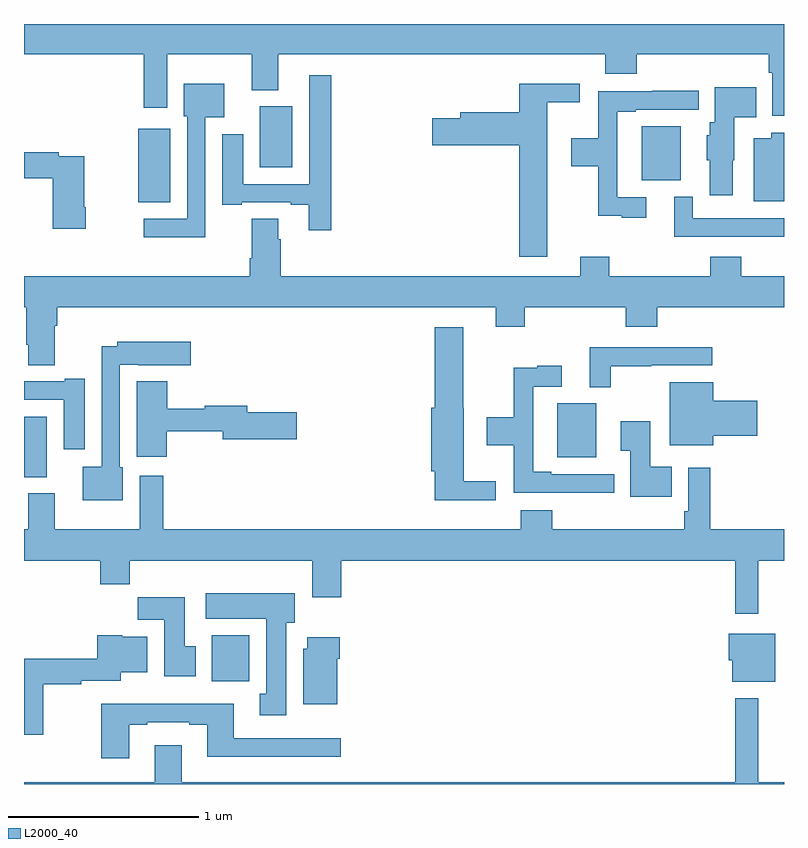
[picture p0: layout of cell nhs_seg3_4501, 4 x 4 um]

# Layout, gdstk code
import gdstk
lib = gdstk.Library(unit=1e-6, precision=1e-09)
def R(c, l, rs):  # rectangles x0, y0, x1, y1
    for r in rs: c.add(gdstk.rectangle(r[:2], r[2:], *l))
def P(c, l, *ps):  # polygons
    for p in ps: c.add(gdstk.Polygon(p, *l))
L2000_40 = (2000, 40)

nhs_seg3_4501 = lib.new_cell('nhs_seg3_4501')
R(nhs_seg3_4501, L2000_40, [(351.989,706.94,352.186,707.182), (351,708.014,351.121,708.334), (353.807,708.119,354.013,708.403), (351.602,709.463,351.769,709.849), (354.251,709.577,354.457,709.861), (352.241,709.646,352.411,709.966)])
P(nhs_seg3_4501, L2000_40, [(355,710.4),(351,710.4),(351,710.24),(351.629,710.24),(351.629,709.959),(351.754,709.959),(351.754,710.24),(352.199,710.24),(352.199,710.051),(352.339,710.051),(352.339,710.24),(354.059,710.24),(354.059,710.138),(354.224,710.138),(354.224,710.24),(354.919,710.24),(354.919,710.144),(354.939,710.144),(354.939,709.917),(355,709.917)],
  [(352.616,710.131),(352.5,710.131),(352.5,709.557),(352.153,709.557),(352.153,709.819),(352.043,709.819),(352.043,709.449),(352.147,709.449),(352.147,709.461),(352.403,709.461),(352.403,709.449),(352.499,709.449),(352.499,709.314),(352.616,709.314)],
  [(351.954,709.91),(352.054,709.91),(352.054,710.086),(351.842,710.086),(351.842,709.914),(351.858,709.914),(351.858,709.374),(351.63,709.374),(351.63,709.277),(351.954,709.277)],
  [(353.755,709.988),(353.926,709.988),(353.926,710.086),(353.606,710.086),(353.606,709.935),(353.297,709.935),(353.297,709.905),(353.148,709.905),(353.148,709.763),(353.606,709.763),(353.606,709.176),(353.755,709.176)],
  [(354.73,709.683),(354.739,709.683),(354.739,709.91),(354.854,709.91),(354.854,710.068),(354.635,710.068),(354.635,709.884),(354.608,709.884),(354.608,709.815),(354.593,709.815),(354.593,709.683),(354.608,709.683),(354.608,709.5),(354.73,709.5)],
  [(354.274,709.488),(354.123,709.488),(354.123,709.938),(354.22,709.938),(354.22,709.95),(354.55,709.95),(354.55,710.048),(354.307,710.048),(354.307,710.046),(354.022,710.046),(354.022,709.798),(353.88,709.798),(353.88,709.651),(354.022,709.651),(354.022,709.391),(354.146,709.391),(354.146,709.38),(354.274,709.38)],
  [(355,709.828),(354.932,709.828),(354.932,709.798),(354.842,709.798),(354.842,709.466),(355,709.466)],
  [(351.324,709.435),(351.316,709.435),(351.316,709.704),(351.182,709.704),(351.182,709.724),(351,709.724),(351,709.588),(351.151,709.588),(351.151,709.323),(351.324,709.323)],
  [(355,709.377),(354.519,709.377),(354.519,709.492),(354.422,709.492),(354.422,709.281),(355,709.281)],
  [(351.163,708.812),(351.176,708.812),(351.176,708.908),(353.483,708.908),(353.483,708.806),(353.636,708.806),(353.636,708.908),(354.167,708.908),(354.167,708.806),(354.332,708.806),(354.332,708.908),(355,708.908),(355,709.072),(354.776,709.072),(354.776,709.174),(354.611,709.174),(354.611,709.072),(354.08,709.072),(354.08,709.174),(353.927,709.174),(353.927,709.072),(352.352,709.072),(352.352,709.268),(352.339,709.268),(352.339,709.376),(352.199,709.376),(352.199,709.168),(352.187,709.168),(352.187,709.072),(351,709.072),(351,708.908),(351.011,708.908),(351.011,708.712),(351.023,708.712),(351.023,708.604),(351.163,708.604)],
  [(353.482,707.993),(353.314,707.993),(353.314,708.381),(353.311,708.381),(353.311,708.805),(353.162,708.805),(353.162,708.381),(353.144,708.381),(353.144,708.045),(353.162,708.045),(353.162,707.894),(353.482,707.894)],
  [(351.52,708.066),(351.504,708.066),(351.504,708.606),(351.601,708.606),(351.601,708.605),(351.877,708.605),(351.877,708.727),(351.492,708.727),(351.492,708.704),(351.408,708.704),(351.408,708.07),(351.308,708.07),(351.308,707.894),(351.52,707.894)],
  [(354.088,708.598),(354.302,708.598),(354.302,708.603),(354.622,708.603),(354.622,708.699),(353.978,708.699),(353.978,708.488),(354.088,708.488)],
  [(354.106,708.03),(353.776,708.03),(353.776,708.043),(353.679,708.043),(353.679,708.492),(353.83,708.492),(353.83,708.601),(353.702,708.601),(353.702,708.59),(353.578,708.59),(353.578,708.33),(353.436,708.33),(353.436,708.182),(353.578,708.182),(353.578,707.934),(353.863,707.934),(353.863,707.933),(354.106,707.933)],
  [(351.319,708.532),(351.215,708.532),(351.215,708.519),(351,708.519),(351,708.423),(351.209,708.423),(351.209,708.162),(351.319,708.162)],
  [(351.75,708.256),(352.046,708.256),(352.046,708.214),(352.435,708.214),(352.435,708.356),(352.174,708.356),(352.174,708.392),(351.95,708.392),(351.95,708.375),(351.755,708.375),(351.755,708.52),(351.593,708.52),(351.593,708.123),(351.75,708.123)],
  [(354.628,708.233),(354.859,708.233),(354.859,708.416),(354.628,708.416),(354.628,708.514),(354.398,708.514),(354.398,708.182),(354.628,708.182)],
  [(354.41,708.07),(354.295,708.07),(354.295,708.31),(354.141,708.31),(354.141,708.154),(354.191,708.154),(354.191,707.912),(354.41,707.912)],
  [(354.865,707.576),(355,707.576),(355,707.74),(354.611,707.74),(354.611,708.064),(354.495,708.064),(354.495,707.836),(354.475,707.836),(354.475,707.74),(353.78,707.74),(353.78,707.842),(353.615,707.842),(353.615,707.74),(351.734,707.74),(351.734,708.022),(351.608,708.022),(351.608,707.74),(351.163,707.74),(351.163,707.929),(351.023,707.929),(351.023,707.74),(351,707.74),(351,707.576),(351.401,707.576),(351.401,707.452),(351.557,707.452),(351.557,707.576),(352.517,707.576),(352.517,707.382),(352.67,707.382),(352.67,707.576),(354.744,707.576),(354.744,707.295),(354.865,707.295)],
  [(352.381,707.25),(352.426,707.25),(352.426,707.404),(351.957,707.404),(351.957,707.27),(352.274,707.27),(352.274,706.874),(352.241,706.874),(352.241,706.761),(352.381,706.761)],
  [(351.904,707.124),(351.847,707.124),(351.847,707.383),(351.598,707.383),(351.598,707.264),(351.737,707.264),(351.737,706.968),(351.904,706.968)],
  [(354.955,707.191),(354.71,707.191),(354.71,707.052),(354.728,707.052),(354.728,706.937),(354.955,706.937)],
  [(351.102,706.924),(351.302,706.924),(351.302,706.944),(351.508,706.944),(351.508,706.988),(351.649,706.988),(351.649,707.176),(351.516,707.176),(351.516,707.182),(351.386,707.182),(351.386,707.06),(351,707.06),(351,706.659),(351.102,706.659)],
  [(352.648,707.06),(352.661,707.06),(352.661,707.173),(352.49,707.173),(352.49,707.112),(352.469,707.112),(352.469,706.82),(352.648,706.82)],
  [(355,706.408),(354.865,706.408),(354.865,706.852),(354.744,706.852),(354.744,706.408),(351.829,706.408),(351.829,706.603),(351.689,706.603),(351.689,706.408),(351,706.408),(351,706.4),(355,706.4)],
  [(351.553,706.713),(351.649,706.713),(351.649,706.725),(351.869,706.725),(351.869,706.713),(351.965,706.713),(351.965,706.544),(352.666,706.544),(352.666,706.641),(352.105,706.641),(352.105,706.822),(351.406,706.822),(351.406,706.536),(351.553,706.536)])

lib.write_gds('nhs_seg3_4501.gds')
